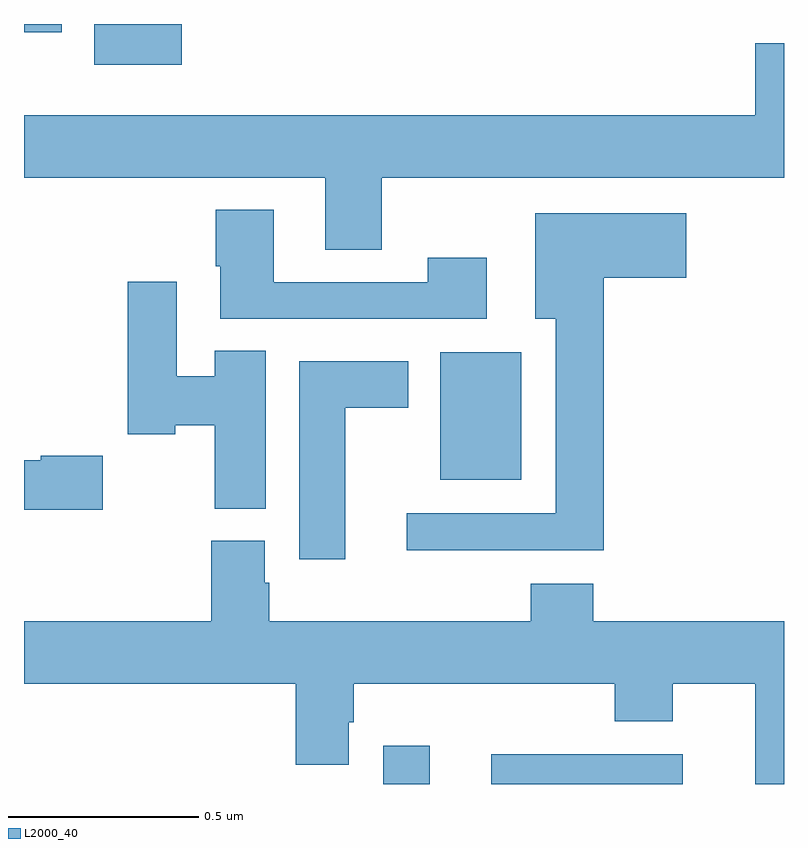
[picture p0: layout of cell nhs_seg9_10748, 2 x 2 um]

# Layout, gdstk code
import gdstk
lib = gdstk.Library(unit=1e-6, precision=1e-09)
def R(c, l, rs):  # rectangles x0, y0, x1, y1
    for r in rs: c.add(gdstk.rectangle(r[:2], r[2:], *l))
def P(c, l, *ps):  # polygons
    for p in ps: c.add(gdstk.Polygon(p, *l))
L2000_40 = (2000, 40)

nhs_seg9_10748 = lib.new_cell('nhs_seg9_10748')
R(nhs_seg9_10748, L2000_40, [(247.946,1185.5,248.068,1185.601), (248.229,1185.5,248.734,1185.578), (248.096,1186.301,248.308,1186.636), (247.185,1187.393,247.415,1187.5), (247,1187.478,247.099,1187.5)])
P(nhs_seg9_10748, L2000_40, [(247.941,1187.096),(249,1187.096),(249,1187.449),(248.924,1187.449),(248.924,1187.26),(247,1187.26),(247,1187.096),(247.793,1187.096),(247.793,1186.906),(247.941,1186.906)],
  [(248.218,1186.885),(248.062,1186.885),(248.062,1186.821),(247.657,1186.821),(247.657,1187.011),(247.505,1187.011),(247.505,1186.863),(247.517,1186.863),(247.517,1186.725),(248.218,1186.725)],
  [(248.525,1186.832),(248.743,1186.832),(248.743,1187.002),(248.345,1187.002),(248.345,1186.724),(248.399,1186.724),(248.399,1186.212),(248.007,1186.212),(248.007,1186.115),(248.525,1186.115)],
  [(247.636,1186.64),(247.502,1186.64),(247.502,1186.573),(247.402,1186.573),(247.402,1186.822),(247.273,1186.822),(247.273,1186.421),(247.398,1186.421),(247.398,1186.444),(247.502,1186.444),(247.502,1186.225),(247.636,1186.225)],
  [(247.846,1186.49),(248.011,1186.49),(248.011,1186.612),(247.724,1186.612),(247.724,1186.092),(247.846,1186.092)],
  [(247.207,1186.364),(247.044,1186.364),(247.044,1186.352),(247,1186.352),(247,1186.222),(247.207,1186.222)],
  [(249,1185.928),(248.498,1185.928),(248.498,1186.027),(248.333,1186.027),(248.333,1185.928),(247.646,1185.928),(247.646,1186.029),(247.633,1186.029),(247.633,1186.14),(247.493,1186.14),(247.493,1185.928),(247,1185.928),(247,1185.764),(247.715,1185.764),(247.715,1185.551),(247.855,1185.551),(247.855,1185.663),(247.868,1185.663),(247.868,1185.764),(248.555,1185.764),(248.555,1185.665),(248.707,1185.665),(248.707,1185.764),(248.924,1185.764),(248.924,1185.5),(249,1185.5)])

lib.write_gds('nhs_seg9_10748.gds')
